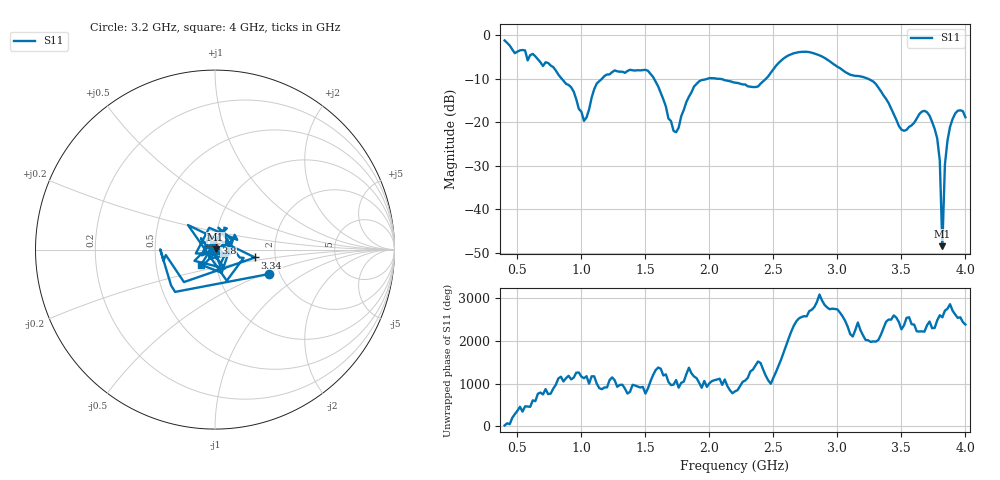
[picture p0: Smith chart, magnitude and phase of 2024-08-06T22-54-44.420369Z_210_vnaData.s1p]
!Created with skrf (http://scikit-rf.org).
# Hz S RI R 50.0
!freq ReS11 ImS11
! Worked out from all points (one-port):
!   181 points, 400 MHz to 4 GHz, reference 50 ohm
!   lowest |S11| = -48.5 dB at 3.82 GHz (marker M1), VSWR 1.01, Z = 50.3 + j0.224 ohm
!   |S11| at or under -10 dB: 1.568 GHz to 1.986 GHz (418.4 MHz wide, 23.5 % of centre); 2.058 GHz to 2.442 GHz (384 MHz wide, 17.1 % of centre); 3.239 GHz to end of sweep (the widest 3 of 4)
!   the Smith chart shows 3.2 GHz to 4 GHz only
!   S11 on the Smith chart (normalised r, x): 3.2 GHz: 1.76, -0.54; 3.34 GHz: 1.57, -0.15; 3.8 GHz: 1.00, +0.07; 4 GHz: 0.85, -0.15
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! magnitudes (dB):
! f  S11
! 400 MHz  -1.2
! 860 MHz  -10.4
! 940 MHz  -13.0
! 1.02 GHz  -19.7
! 1.12 GHz  -11.1
! 1.3 GHz  -8.4
! 1.52 GHz  -8.2
! 1.6 GHz  -11.8
! 1.72 GHz  -22.0
! 1.76 GHz  -21.2
! 1.82 GHz  -15.4
! 1.92 GHz  -10.6
! 2.2 GHz  -10.9
! 2.38 GHz  -11.8
! 2.66 GHz  -4.1
! 3.1 GHz  -9.1
! 3.2 GHz  -9.6
! 3.34 GHz  -12.9
! 3.5 GHz  -21.7
! 3.56 GHz  -21.1
! 3.7 GHz  -17.7
! 3.78 GHz  -23.7
! 3.8 GHz  -28.9
! 3.82 GHz  -48.5
! 3.84 GHz  -29.7
! 3.86 GHz  -24.2
! 3.92 GHz  -18.0
! 4 GHz  -18.9
